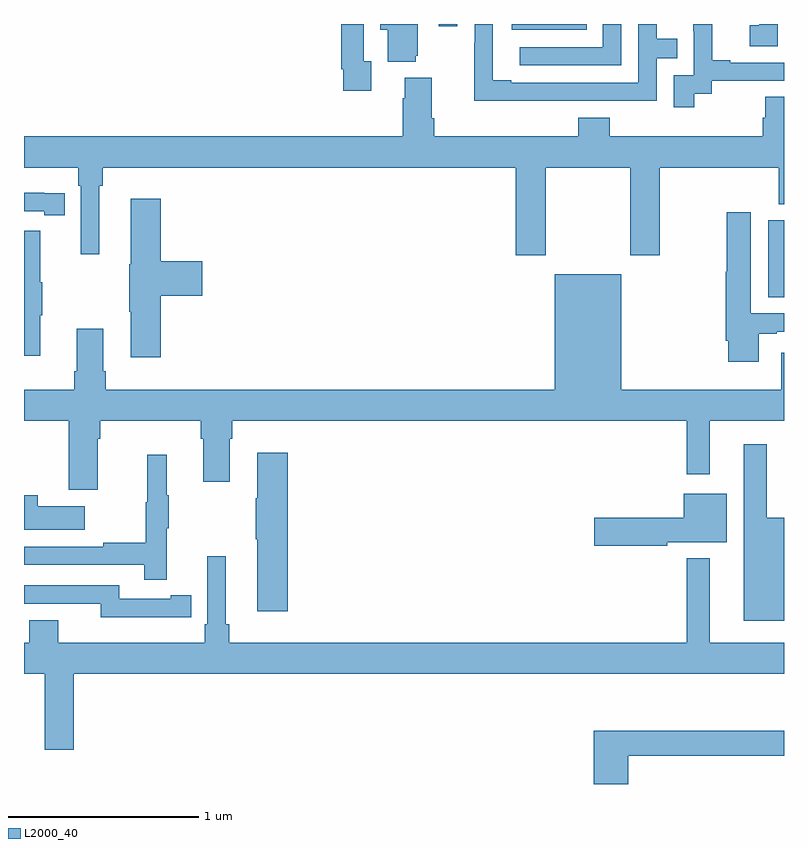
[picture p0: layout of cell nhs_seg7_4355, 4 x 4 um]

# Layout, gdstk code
import gdstk
lib = gdstk.Library(unit=1e-6, precision=1e-09)
def R(c, l, rs):  # rectangles x0, y0, x1, y1
    for r in rs: c.add(gdstk.rectangle(r[:2], r[2:], *l))
def P(c, l, *ps):  # polygons
    for p in ps: c.add(gdstk.Polygon(p, *l))
L2000_40 = (2000, 40)

nhs_seg7_4355 = lib.new_cell('nhs_seg7_4355')
R(nhs_seg7_4355, L2000_40, [(388.916,1038.562,389,1038.967), (387.566,1039.97,387.962,1040), (387.183,1039.989,387.279,1040)])
P(nhs_seg7_4355, L2000_40, [(387.062,1039.833),(387.073,1039.833),(387.073,1040),(386.876,1040),(386.876,1039.97),(386.915,1039.97),(386.915,1039.802),(387.062,1039.802)],
  [(386.827,1039.805),(386.787,1039.805),(386.787,1040),(386.671,1040),(386.671,1039.762),(386.679,1039.762),(386.679,1039.65),(386.827,1039.65)],
  [(388.143,1040),(388.047,1040),(388.047,1039.878),(387.609,1039.878),(387.609,1039.782),(388.143,1039.782)],
  [(388.968,1040),(388.87,1040),(388.87,1039.993),(388.821,1039.993),(388.821,1039.884),(388.968,1039.884)],
  [(388.528,1039.632),(388.62,1039.632),(388.62,1039.701),(389,1039.701),(389,1039.797),(388.717,1039.797),(388.717,1039.81),(388.622,1039.81),(388.622,1040),(388.523,1040),(388.523,1039.961),(388.524,1039.961),(388.524,1039.731),(388.419,1039.731),(388.419,1039.563),(388.528,1039.563)],
  [(387.833,1039.596),(388.329,1039.596),(388.329,1039.821),(388.439,1039.821),(388.439,1039.922),(388.329,1039.922),(388.329,1040),(388.233,1040),(388.233,1039.692),(387.565,1039.692),(387.565,1039.705),(387.468,1039.705),(387.468,1040),(387.372,1040),(387.372,1039.901),(387.37,1039.901),(387.37,1039.595),(387.833,1039.595)],
  [(385,1039.244),(385.286,1039.244),(385.286,1039.148),(385.299,1039.148),(385.299,1038.789),(385.396,1038.789),(385.396,1039.148),(385.415,1039.148),(385.415,1039.244),(387.587,1039.244),(387.587,1038.783),(387.747,1038.783),(387.747,1039.244),(388.192,1039.244),(388.192,1038.783),(388.347,1038.783),(388.347,1039.244),(388.973,1039.244),(388.973,1039.052),(389,1039.052),(389,1039.616),(388.901,1039.616),(388.901,1039.506),(388.889,1039.506),(388.889,1039.408),(388.082,1039.408),(388.082,1039.507),(387.917,1039.507),(387.917,1039.408),(387.158,1039.408),(387.158,1039.504),(387.145,1039.504),(387.145,1039.717),(387.005,1039.717),(387.005,1039.61),(386.993,1039.61),(386.993,1039.408),(385,1039.408)],
  [(385.214,1039.11),(385.106,1039.11),(385.106,1039.111),(385,1039.111),(385,1039.014),(385.106,1039.014),(385.106,1038.994),(385.214,1038.994)],
  [(385.721,1038.569),(385.939,1038.569),(385.939,1038.752),(385.721,1038.752),(385.721,1039.081),(385.562,1039.081),(385.562,1038.735),(385.555,1038.735),(385.555,1038.485),(385.562,1038.485),(385.562,1038.246),(385.721,1038.246)],
  [(388.867,1038.369),(388.963,1038.369),(388.963,1038.381),(389,1038.381),(389,1038.477),(388.825,1038.477),(388.825,1039.009),(388.699,1039.009),(388.699,1038.696),(388.694,1038.696),(388.694,1038.334),(388.706,1038.334),(388.706,1038.222),(388.867,1038.222)],
  [(385.085,1038.467),(385.096,1038.467),(385.096,1038.641),(385.085,1038.641),(385.085,1038.913),(385,1038.913),(385,1038.255),(385.085,1038.255)],
  [(385.387,1037.816),(385.4,1037.816),(385.4,1037.912),(385.931,1037.912),(385.931,1037.816),(385.943,1037.816),(385.943,1037.592),(386.083,1037.592),(386.083,1037.816),(386.096,1037.816),(386.096,1037.912),(388.488,1037.912),(388.488,1037.631),(388.609,1037.631),(388.609,1037.912),(389,1037.912),(389,1038.271),(388.985,1038.271),(388.985,1038.076),(388.144,1038.076),(388.144,1038.682),(387.794,1038.682),(387.794,1038.076),(385.43,1038.076),(385.43,1038.172),(385.417,1038.172),(385.417,1038.397),(385.277,1038.397),(385.277,1038.172),(385.265,1038.172),(385.265,1038.076),(385,1038.076),(385,1037.912),(385.235,1037.912),(385.235,1037.55),(385.387,1037.55)],
  [(389,1037.402),(388.909,1037.402),(388.909,1037.788),(388.787,1037.788),(388.787,1036.859),(389,1036.859)],
  [(386.387,1037.743),(386.228,1037.743),(386.228,1037.504),(386.221,1037.504),(386.221,1037.287),(386.228,1037.287),(386.228,1036.908),(386.387,1036.908)],
  [(385.751,1037.347),(385.762,1037.347),(385.762,1037.521),(385.751,1037.521),(385.751,1037.734),(385.648,1037.734),(385.648,1037.484),(385.641,1037.484),(385.641,1037.27),(385.417,1037.27),(385.417,1037.25),(385,1037.25),(385,1037.154),(385.633,1037.154),(385.633,1037.076),(385.751,1037.076)],
  [(388.386,1037.273),(388.699,1037.273),(388.699,1037.527),(388.472,1037.527),(388.472,1037.402),(388.002,1037.402),(388.002,1037.255),(388.386,1037.255)],
  [(385.321,1037.461),(385.073,1037.461),(385.073,1037.521),(385,1037.521),(385,1037.339),(385.321,1037.339)],
  [(385.262,1036.58),(389,1036.58),(389,1036.744),(388.609,1036.744),(388.609,1037.188),(388.488,1037.188),(388.488,1036.744),(386.081,1036.744),(386.081,1036.84),(386.062,1036.84),(386.062,1037.2),(385.965,1037.2),(385.965,1036.84),(385.952,1036.84),(385.952,1036.744),(385.18,1036.744),(385.18,1036.861),(385.028,1036.861),(385.028,1036.744),(385,1036.744),(385,1036.58),(385.109,1036.58),(385.109,1036.179),(385.262,1036.179)],
  [(385.772,1036.878),(385.88,1036.878),(385.88,1036.994),(385.772,1036.994),(385.772,1036.974),(385.5,1036.974),(385.5,1037.046),(385,1037.046),(385,1036.95),(385.404,1036.95),(385.404,1036.877),(385.772,1036.877)],
  [(388.181,1036.15),(389,1036.15),(389,1036.279),(387.998,1036.279),(387.998,1036),(388.181,1036)])

lib.write_gds('nhs_seg7_4355.gds')
